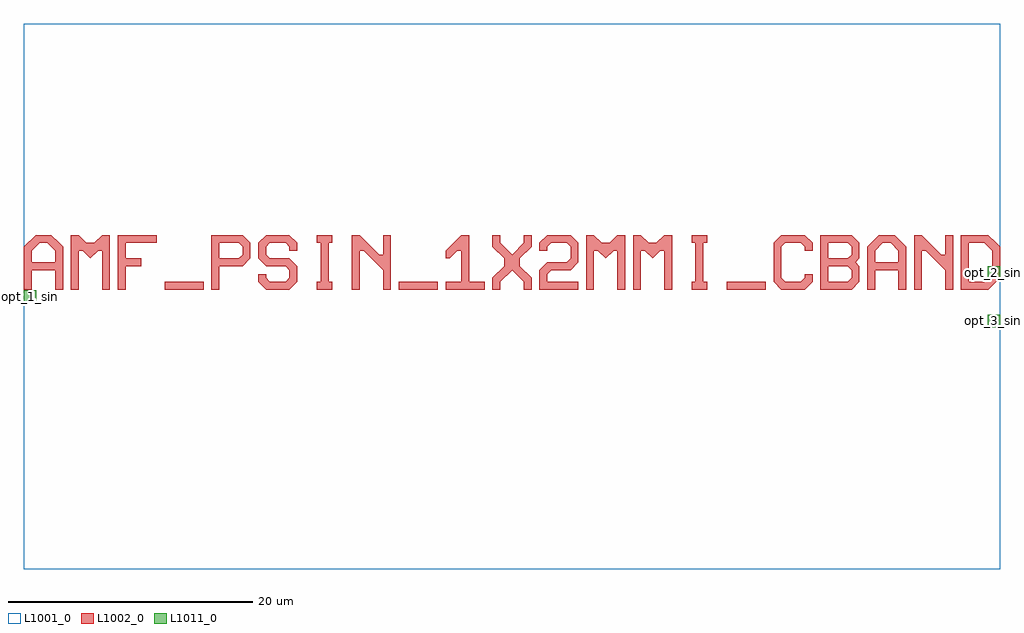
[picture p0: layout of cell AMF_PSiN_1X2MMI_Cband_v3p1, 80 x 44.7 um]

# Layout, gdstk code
import gdstk
lib = gdstk.Library(unit=1e-6, precision=1e-09)
def R(c, l, rs):  # rectangles x0, y0, x1, y1
    for r in rs: c.add(gdstk.rectangle(r[:2], r[2:], *l))
def P(c, l, *ps):  # polygons
    for p in ps: c.add(gdstk.Polygon(p, *l))
L1001_0 = (1001, 0)
L1002_0 = (1002, 0)
L1011_0 = (1011, 0)

amf_psin_1x2mmi_cband_v3 = lib.new_cell('AMF_PSiN_1X2MMI_Cband_v3p1')
R(amf_psin_1x2mmi_cband_v3, L1001_0, [(0,-22.35,80,22.35)])
R(amf_psin_1x2mmi_cband_v3, L1002_0, [(11.52,0.56,14.72,1.2), (30.72,0.56,33.92,1.2), (57.6,0.56,60.8,1.2)])
P(amf_psin_1x2mmi_cband_v3, L1002_0, [(76.8,0.56),(76.8,5.04),(79.04,5.04),(79.68,4.4),(77.44,4.4),(77.44,1.2),(78.72,1.2),(79.36,1.84),(79.36,3.76),(78.72,4.4),(79.68,4.4),(80,4.08),(80,1.52),(79.04,0.56)],
  [(72.96,0.56),(72.96,5.04),(73.6,5.04),(75.2,3.44),(75.52,3.44),(75.52,5.04),(76.16,5.04),(76.16,0.56),(75.52,0.56),(75.52,2.16),(73.92,3.76),(73.6,3.76),(73.6,0.56)],
  [(69.12,0.56),(69.12,4.08),(70.08,5.04),(71.36,5.04),(72,4.4),(70.4,4.4),(69.76,3.76),(69.76,2.8),(71.68,2.8),(71.68,3.76),(71.04,4.4),(72,4.4),(72.32,4.08),(72.32,0.56),(71.68,0.56),(71.68,2.16),(69.76,2.16),(69.76,0.56)],
  [(65.28,0.56),(65.28,5.04),(67.84,5.04),(68.48,4.4),(65.92,4.4),(65.92,3.12),(67.52,3.12),(67.84,3.44),(67.84,4.08),(67.52,4.4),(68.48,4.4),(68.48,3.12),(68.16,2.8),(68.48,2.48),(65.92,2.48),(65.92,1.2),(67.52,1.2),(67.84,1.52),(67.84,2.16),(67.52,2.48),(68.48,2.48),(68.48,1.2),(67.84,0.56)],
  [(62.08,0.56),(61.44,1.2),(61.44,4.4),(62.08,5.04),(64,5.04),(64.64,4.4),(64.64,3.76),(64,3.76),(64,4.08),(63.68,4.4),(62.4,4.4),(62.08,4.08),(62.08,1.52),(62.4,1.2),(63.68,1.2),(64,1.52),(64,1.84),(64.64,1.84),(64.64,1.2),(64,0.56)],
  [(54.72,0.56),(54.72,1.2),(55.04,1.2),(55.04,4.4),(54.72,4.4),(54.72,5.04),(56,5.04),(56,4.4),(55.68,4.4),(55.68,1.2),(56,1.2),(56,0.56)],
  [(49.92,0.56),(49.92,5.04),(50.56,5.04),(51.2,4.4),(51.84,4.4),(52.48,5.04),(53.12,5.04),(53.12,0.56),(52.48,0.56),(52.48,3.76),(52.16,3.76),(51.52,3.12),(50.88,3.76),(50.56,3.76),(50.56,0.56)],
  [(46.08,0.56),(46.08,5.04),(46.72,5.04),(47.36,4.4),(48,4.4),(48.64,5.04),(49.28,5.04),(49.28,0.56),(48.64,0.56),(48.64,3.76),(48.32,3.76),(47.68,3.12),(47.04,3.76),(46.72,3.76),(46.72,0.56)],
  [(42.24,0.56),(42.24,2.16),(42.88,2.8),(44.48,2.8),(44.8,3.12),(44.8,4.08),(44.48,4.4),(43.2,4.4),(42.88,4.08),(42.88,3.76),(42.24,3.76),(42.24,4.4),(42.88,5.04),(44.8,5.04),(45.44,4.4),(45.44,2.8),(44.8,2.16),(43.2,2.16),(42.88,1.84),(42.88,1.2),(45.44,1.2),(45.44,0.56)],
  [(38.4,0.56),(38.4,1.52),(39.36,2.48),(39.36,3.12),(38.4,4.08),(38.4,5.04),(39.04,5.04),(39.04,4.4),(40,3.44),(40.96,4.4),(40.96,5.04),(41.6,5.04),(41.6,4.08),(40.64,3.12),(40.64,2.48),(41.6,1.52),(41.6,0.56),(40.96,0.56),(40.96,1.2),(40,2.16),(39.04,1.2),(39.04,0.56)],
  [(34.56,0.56),(34.56,1.2),(35.84,1.2),(35.84,3.76),(35.52,3.76),(34.88,3.12),(34.56,3.12),(34.56,3.76),(35.84,5.04),(36.48,5.04),(36.48,1.2),(37.76,1.2),(37.76,0.56)],
  [(26.88,0.56),(26.88,5.04),(27.52,5.04),(29.12,3.44),(29.44,3.44),(29.44,5.04),(30.08,5.04),(30.08,0.56),(29.44,0.56),(29.44,2.16),(27.84,3.76),(27.52,3.76),(27.52,0.56)],
  [(24,0.56),(24,1.2),(24.32,1.2),(24.32,4.4),(24,4.4),(24,5.04),(25.28,5.04),(25.28,4.4),(24.96,4.4),(24.96,1.2),(25.28,1.2),(25.28,0.56)],
  [(19.84,0.56),(19.2,1.2),(19.2,1.84),(19.84,1.84),(19.84,1.52),(20.16,1.2),(21.44,1.2),(21.76,1.52),(21.76,2.16),(21.44,2.48),(19.84,2.48),(19.2,3.12),(19.2,4.4),(19.84,5.04),(21.76,5.04),(22.4,4.4),(22.4,3.76),(21.76,3.76),(21.76,4.08),(21.44,4.4),(20.16,4.4),(19.84,4.08),(19.84,3.44),(20.16,3.12),(21.76,3.12),(22.4,2.48),(22.4,1.2),(21.76,0.56)],
  [(15.36,0.56),(15.36,5.04),(17.92,5.04),(18.56,4.4),(18.56,3.12),(17.92,2.48),(16,2.48),(16,3.12),(17.6,3.12),(17.92,3.44),(17.92,4.08),(17.6,4.4),(16,4.4),(16,0.56)],
  [(7.68,0.56),(7.68,5.04),(10.88,5.04),(10.88,4.4),(8.32,4.4),(8.32,3.12),(9.6,3.12),(9.6,2.48),(8.32,2.48),(8.32,0.56)],
  [(3.84,0.56),(3.84,5.04),(4.48,5.04),(5.12,4.4),(5.76,4.4),(6.4,5.04),(7.04,5.04),(7.04,0.56),(6.4,0.56),(6.4,3.76),(6.08,3.76),(5.44,3.12),(4.8,3.76),(4.48,3.76),(4.48,0.56)],
  [(0,0.56),(0,4.08),(0.96,5.04),(2.24,5.04),(2.88,4.4),(1.28,4.4),(0.64,3.76),(0.64,2.8),(2.56,2.8),(2.56,3.76),(1.92,4.4),(2.88,4.4),(3.2,4.08),(3.2,0.56),(2.56,0.56),(2.56,2.16),(0.64,2.16),(0.64,0.56)])
R(amf_psin_1x2mmi_cband_v3, L1011_0, [(79,-2.5,80,-1.5), (0,-0.5,1,0.5), (79,1.5,80,2.5)])
amf_psin_1x2mmi_cband_v3.add(gdstk.Label('opt_2_sin', (80,2), layer=1011, texttype=0))
amf_psin_1x2mmi_cband_v3.add(gdstk.Label('opt_3_sin', (80,-2), layer=1011, texttype=0))
amf_psin_1x2mmi_cband_v3.add(gdstk.Label('opt_1_sin', (0,0), layer=1011, texttype=0))

lib.write_gds('AMF_PSiN_1X2MMI_Cband_v3p1.gds')
